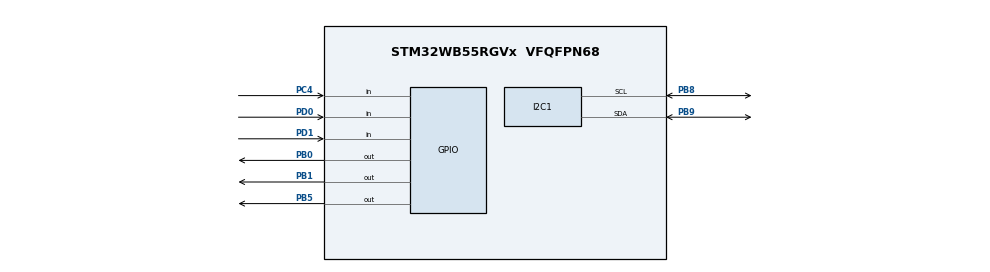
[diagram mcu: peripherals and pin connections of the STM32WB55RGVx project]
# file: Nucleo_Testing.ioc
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I2C1.Timing=0x00B07CB4
Mcu.Family=STM32WB
Mcu.Name=STM32WB55RGVx
Mcu.Package=VFQFPN68
NUCLEO-WB55RG.BUTTON=1
NUCLEO-WB55RG.BUTTON2=1
NUCLEO-WB55RG.BUTTON3=1
NUCLEO-WB55RG.LD1=true
NUCLEO-WB55RG.LD2=true
NUCLEO-WB55RG.LD3=true
NUCLEO-WB55RG.VCP=true
NVIC.EXTI0_IRQn=true\:0\:0\:false\:false\:true\:false\:true\:true
NVIC.EXTI1_IRQn=true\:0\:0\:false\:false\:true\:false\:true\:true
NVIC.EXTI4_IRQn=true\:0\:0\:false\:false\:true\:false\:true\:true
NVIC.PriorityGroup=NVIC_PRIORITYGROUP_4
OSC_IN.GPIO_Label=RCC_OSC_IN
OSC_IN.Signal=RCC_OSC_IN
OSC_OUT.GPIO_Label=RCC_OSC_OUT
OSC_OUT.Signal=RCC_OSC_OUT
PA11.GPIO_Label=USB_DM
PA11.Signal=USB_DM
PA12.GPIO_Label=USB_DP
PA12.Signal=USB_DP
PA13.GPIO_Label=JTMS
PA13.Mode=Trace_Asynchronous_SW
PA13.Signal=SYS_JTMS-SWDIO
PA14.GPIO_Label=JTCK
PA14.Mode=Trace_Asynchronous_SW
PA14.Signal=SYS_JTCK-SWCLK
PB0.Signal=GPIO_Output
PB1.Signal=GPIO_Output
PB3.GPIO_Label=JTDO
PB3.Mode=Trace_Asynchronous_SW
PB3.Signal=SYS_JTDO-SWO
PB5.Signal=GPIO_Output
PB6.Signal=USART1_TX
PB7.Signal=USART1_RX
PB8.GPIO_FM8=__NULL
PB8.GPIO_Mode=GPIO_MODE_AF_OD
PB8.GPIO_Pu=GPIO_NOPULL
PB8.GPIO_Speed=GPIO_SPEED_FREQ_LOW
PB8.Mode=I2C
PB8.Signal=I2C1_SCL
PB9.Mode=I2C
PB9.Signal=I2C1_SDA
PC13.GPIO_Label=SYS_WKUP2
PC13.Signal=SYS_WKUP2
PC14-OSC32_IN.GPIO_Label=RCC_OSC32_IN
PC14-OSC32_IN.Signal=RCC_OSC32_IN
PC15-OSC32_OUT.GPIO_Label=RCC_OSC32_OUT
PC15-OSC32_OUT.Signal=RCC_OSC32_OUT
PC4.Signal=GPIO_Input
PD0.Signal=GPIO_Input
PD1.Signal=GPIO_Input
ProjectManager.HeapSize=0x200
ProjectManager.StackSize=0x400
ProjectManager.TargetToolchain=STM32CubeIDE
RCC.ADCFreq_Value=128000000
RCC.AHBFreq_Value=32000000
RCC.APB1Freq_Value=32000000
RCC.APB1TimFreq_Value=32000000
RCC.APB2Freq_Value=32000000
RCC.APB2TimFreq_Value=32000000
RCC.APB3Freq_Value=16000000
RCC.CortexFreq_Value=32000000
RCC.HCLKFreq_Value=32000000
RCC.HSE_VALUE=32000000
RCC.HSI48_VALUE=48000000
RCC.HSI_VALUE=16000000
RCC.LSE_VALUE=32768
RCC.MSIClockRange=RCC_MSIRANGE_10
RCC.SMPSCLockSelection=RCC_SMPSCLKSOURCE_HSI
RCC.SMPSCLockSelectionVirtual=RCC_SMPSCLKSOURCE_HSI
RCC.SMPSCLockSelectionVirtualVirtual=RCC_SMPSCLKSOURCE_HSI
RCC.SMPSDivider=1
RCC.SYSCLKFreq_VALUE=32000000
RCC.USBFreq_Value=128000000
RCC.VCOOutputFreq_Value=256000000
VP_MEMORYMAP_VS_MEMORYMAP.Mode=CurAppReg
VP_NUCLEO-WB55RG_VS_BSP_COMMON.Mode=COMMON
board=NUCLEO-WB55RG

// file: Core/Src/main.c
/* USER CODE BEGIN Header */
/**
 ******************************************************************************
 * @file           : main.c
 * @brief          : Main program body
 ******************************************************************************
 * @attention
 *
 * Copyright (c) 2025 STMicroelectronics.
 * All rights reserved.
 *
 * This software is licensed under terms that can be found in the LICENSE file
 * in the root directory of this software component.
 * If no LICENSE file comes with this software, it is provided AS-IS.
 *
 ******************************************************************************
 */
/* USER CODE END Header */
#include "main.h"
#include "stm32wbxx_hal_i2c.h"

/* USER CODE BEGIN PD */

#define SLAVE_ADDR 0b1010111
#define FIFO_WR_PTR 0x04
#define FIFO_DATA 0x07
#define FIFO_RD_PTR 0x06
/* USER CODE END PD */

COM_InitTypeDef BspCOMInit;
I2C_HandleTypeDef hi2c1;

/* USER CODE BEGIN PV */

uint8_t hr = 0;
uint8_t *hr_buff = {};

uint8_t fifo_wr_ptr = 0;
uint8_t fifo_rd_ptr = 0;
uint8_t num_available = 0;
uint8_t num_samples_to_read = 0;
/* USER CODE END PV */

void SystemClock_Config(void);
void PeriphCommonClock_Config(void);
static void MX_GPIO_Init(void);
static void MX_I2C1_Init(void);
/* USER CODE BEGIN PFP */
uint32_t Read_HR_Sensor(void);

/* USER CODE END PFP */

int main(void)
{

  /* MCU Configuration--------------------------------------------------------*/

  /* Reset of all peripherals, Initializes the Flash interface and the Systick. */
  HAL_Init();

  /* Configure the system clock */
  SystemClock_Config();

  /* Configure the peripherals common clocks */
  PeriphCommonClock_Config();

  /* Initialize all configured peripherals */
  MX_GPIO_Init();
  MX_I2C1_Init();

  /* Initialize leds */
  BSP_LED_Init(LED_BLUE);
  BSP_LED_Init(LED_GREEN);
  BSP_LED_Init(LED_RED);

  /* Initialize USER push-button, will be used to trigger an interrupt each time it's pressed.*/
  BSP_PB_Init(BUTTON_SW1, BUTTON_MODE_EXTI);
  BSP_PB_Init(BUTTON_SW2, BUTTON_MODE_EXTI);
  BSP_PB_Init(BUTTON_SW3, BUTTON_MODE_EXTI);

  /* Initialize COM1 port (115200, 8 bits (7-bit data + 1 stop bit), no parity */
  BspCOMInit.BaudRate   = 115200;
  BspCOMInit.WordLength = COM_WORDLENGTH_8B;
  BspCOMInit.StopBits   = COM_STOPBITS_1;
  BspCOMInit.Parity     = COM_PARITY_NONE;
  BspCOMInit.HwFlowCtl  = COM_HWCONTROL_NONE;
  if (BSP_COM_Init(COM1, &BspCOMInit) != BSP_ERROR_NONE)
  {
    Error_Handler();
  }

  /* Infinite loop */
  /* USER CODE BEGIN WHILE */
	while (1) {

		float tempC = LM75_ReadTemperatureC();

		// toggle an LED if above some threshold
		if (tempC > 10.0f) {
			BSP_LED_On(LED_BLUE);
		} else {
			BSP_LED_Off(LED_BLUE);
		}

		 HAL_Delay(500);

    /* USER CODE END WHILE */

	}
}

void SystemClock_Config(void)
{
  RCC_OscInitTypeDef RCC_OscInitStruct = {0};
  RCC_ClkInitTypeDef RCC_ClkInitStruct = {0};

  /** Configure the main internal regulator output voltage
  */
  __HAL_PWR_VOLTAGESCALING_CONFIG(PWR_REGULATOR_VOLTAGE_SCALE1);

  /** Initializes the RCC Oscillators according to the specified parameters
  * in the RCC_OscInitTypeDef structure.
  */
  RCC_OscInitStruct.OscillatorType = RCC_OSCILLATORTYPE_HSI|RCC_OSCILLATORTYPE_MSI;
  RCC_OscInitStruct.HSIState = RCC_HSI_ON;
  RCC_OscInitStruct.MSIState = RCC_MSI_ON;
  RCC_OscInitStruct.HSICalibrationValue = RCC_HSICALIBRATION_DEFAULT;
  RCC_OscInitStruct.MSICalibrationValue = RCC_MSICALIBRATION_DEFAULT;
  RCC_OscInitStruct.MSIClockRange = RCC_MSIRANGE_10;
  RCC_OscInitStruct.PLL.PLLState = RCC_PLL_NONE;
  if (HAL_RCC_OscConfig(&RCC_OscInitStruct) != HAL_OK)
  {
    Error_Handler();
  }

  /** Configure the SYSCLKSource, HCLK, PCLK1 and PCLK2 clocks dividers
  */
  RCC_ClkInitStruct.ClockType = RCC_CLOCKTYPE_HCLK4|RCC_CLOCKTYPE_HCLK2
                              |RCC_CLOCKTYPE_HCLK|RCC_CLOCKTYPE_SYSCLK
                              |RCC_CLOCKTYPE_PCLK1|RCC_CLOCKTYPE_PCLK2;
  RCC_ClkInitStruct.SYSCLKSource = RCC_SYSCLKSOURCE_MSI;
  RCC_ClkInitStruct.AHBCLKDivider = RCC_SYSCLK_DIV1;
  RCC_ClkInitStruct.APB1CLKDivider = RCC_HCLK_DIV1;
  RCC_ClkInitStruct.APB2CLKDivider = RCC_HCLK_DIV1;
  RCC_ClkInitStruct.AHBCLK2Divider = RCC_SYSCLK_DIV1;
  RCC_ClkInitStruct.AHBCLK4Divider = RCC_SYSCLK_DIV1;

  if (HAL_RCC_ClockConfig(&RCC_ClkInitStruct, FLASH_LATENCY_1) != HAL_OK)
  {
    Error_Handler();
  }
}

void PeriphCommonClock_Config(void)
{
  RCC_PeriphCLKInitTypeDef PeriphClkInitStruct = {0};

  /** Initializes the peripherals clock
  */
  PeriphClkInitStruct.PeriphClockSelection = RCC_PERIPHCLK_SMPS;
  PeriphClkInitStruct.SmpsClockSelection = RCC_SMPSCLKSOURCE_HSI;
  PeriphClkInitStruct.SmpsDivSelection = RCC_SMPSCLKDIV_RANGE0;

  if (HAL_RCCEx_PeriphCLKConfig(&PeriphClkInitStruct) != HAL_OK)
  {
    Error_Handler();
  }
}

static void MX_I2C1_Init(void)
{

  hi2c1.Instance = I2C1;
  hi2c1.Init.Timing = 0x00B07CB4;
  hi2c1.Init.OwnAddress1 = 0;
  hi2c1.Init.AddressingMode = I2C_ADDRESSINGMODE_7BIT;
  hi2c1.Init.DualAddressMode = I2C_DUALADDRESS_DISABLE;
  hi2c1.Init.OwnAddress2 = 0;
  hi2c1.Init.OwnAddress2Masks = I2C_OA2_NOMASK;
  hi2c1.Init.GeneralCallMode = I2C_GENERALCALL_DISABLE;
  hi2c1.Init.NoStretchMode = I2C_NOSTRETCH_DISABLE;
  if (HAL_I2C_Init(&hi2c1) != HAL_OK)
  {
    Error_Handler();
  }

  /** Configure Analogue filter
  */
  if (HAL_I2CEx_ConfigAnalogFilter(&hi2c1, I2C_ANALOGFILTER_ENABLE) != HAL_OK)
  {
    Error_Handler();
  }

  /** Configure Digital filter
  */
  if (HAL_I2CEx_ConfigDigitalFilter(&hi2c1, 0) != HAL_OK)
  {
    Error_Handler();
  }

}

static void MX_GPIO_Init(void)
{
  GPIO_InitTypeDef GPIO_InitStruct = {0};

  /* GPIO Ports Clock Enable */
  __HAL_RCC_GPIOC_CLK_ENABLE();
  __HAL_RCC_GPIOB_CLK_ENABLE();
  __HAL_RCC_GPIOA_CLK_ENABLE();

  /*Configure GPIO pins : USB_DM_Pin USB_DP_Pin */
  GPIO_InitStruct.Pin = USB_DM_Pin|USB_DP_Pin;
  GPIO_InitStruct.Mode = GPIO_MODE_AF_PP;
  GPIO_InitStruct.Pull = GPIO_NOPULL;
  GPIO_InitStruct.Speed = GPIO_SPEED_FREQ_LOW;
  GPIO_InitStruct.Alternate = GPIO_AF10_USB;
  HAL_GPIO_Init(GPIOA, &GPIO_InitStruct);

}

/* USER CODE BEGIN 4 */
uint32_t Read_HR_Sensor(void)
{

	// Send device address + write mode
	HAL_I2C_Master_Transmit(&hi2c, SLAVE_ADDR, FIFO_WR_PTR, 1, 1000);

	// Send device address + read mode Read FIFO_WR_PTR;
	HAL_I2C_Master_Receive(&hi2c, SLAVE_ADDR, &fifo_wr_ptr, 1, 1000);

	// Send device address + write mode Send address of FIFO_DATA;
	HAL_I2C_Master_Transmit(&hi2c, SLAVE_ADDR, FIFO_RD_PTR, 1, 1000);

	HAL_I2C_Master_Receive(&hi2c, SLAVE_ADDR, &fifo_rd_ptr, 1, 1000);

	if (fifo_wr_ptr >= fifo_rd_ptr)
	    num_available = fifo_wr_ptr - fifo_rd_ptr;
	else
	    num_available = (fifo_wr_ptr + 32) - fifo_rd_ptr;

	num_samples_to_read = (num_available >= 2) ? 2 : num_available;

	// Send device address + write mode Send address of FIFO_DATA;
	HAL_I2C_Master_Transmit(&hi2c, SLAVE_ADDR, FIFO_DATA, 1, 1000);

	for(int i = 0; i < num_samples_to_read; i ++)
	{
		HAL_I2C_Master_Receive(&hi2c, SLAVE_ADDR, , 1, 1000);

	}

}

// HAL_StatusTypeDef HAL_I2C_Master_Transmit(I2C_HandleTypeDef *hi2c, uint16_t DevAddress, uint8_t *pData,
//uint16_t Size, uint32_t Timeout)

/* USER CODE END 4 */

void Error_Handler(void)
{
	__disable_irq();
	while (1) {
	}
}
